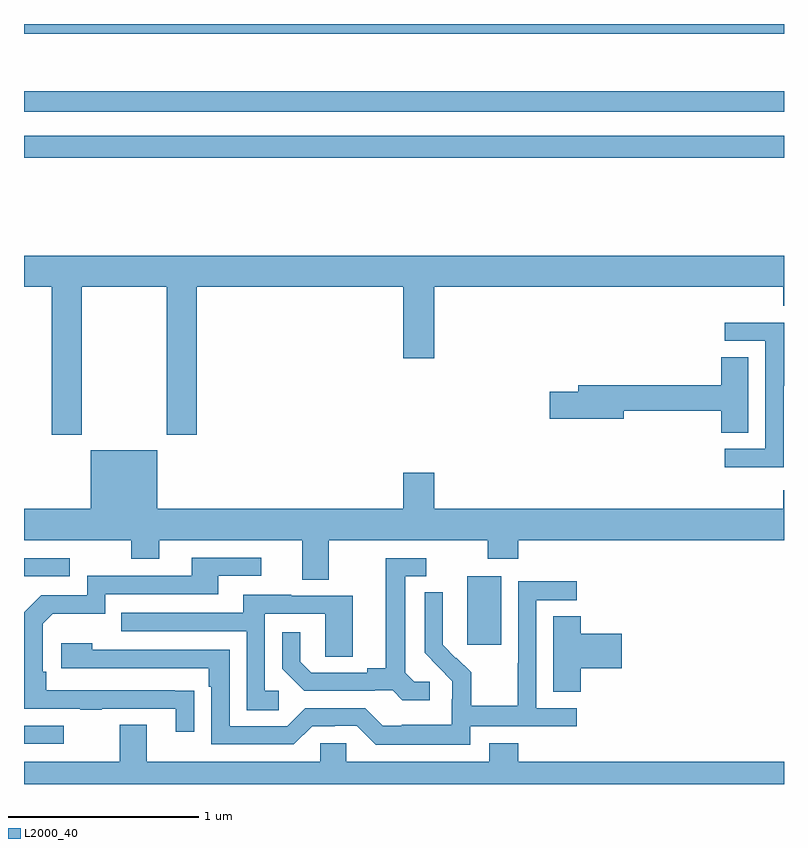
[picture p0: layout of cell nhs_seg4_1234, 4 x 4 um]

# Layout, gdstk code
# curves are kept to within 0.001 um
import gdstk
lib = gdstk.Library(unit=1e-6, precision=1e-09)
def R(c, l, rs):  # rectangles x0, y0, x1, y1
    for r in rs: c.add(gdstk.rectangle(r[:2], r[2:], *l))
def P(c, l, *ps):  # polygons
    for p in ps: c.add(gdstk.Polygon(p, *l))
L2000_40 = (2000, 40)

nhs_seg4_1234 = lib.new_cell('nhs_seg4_1234')
R(nhs_seg4_1234, L2000_40, [(175,765.111,175.21,765.207), (177.332,765.633,177.511,765.994), (175,765.993,175.24,766.089), (175,768.196,179,768.312), (175,768.438,179,768.547), (175,768.848,179,768.9)])
P(nhs_seg4_1234, L2000_40, [(175.305,767.516),(175.75,767.516),(175.75,766.737),(175.91,766.737),(175.91,767.516),(176.996,767.516),(176.996,767.142),(177.16,767.142),(177.16,767.516),(178.997,767.516),(178.997,767.417),(179,767.417),(179,767.68),(175,767.68),(175,767.516),(175.145,767.516),(175.145,766.737),(175.305,766.737)],
  [(178.998,766.996),(179,766.996),(179,767.328),(178.689,767.328),(178.689,767.232),(178.902,767.232),(178.902,766.665),(178.689,766.665),(178.689,766.567),(178.998,766.567)],
  [(178.813,767.147),(178.67,767.147),(178.67,767),(177.917,767),(177.917,766.964),(177.768,766.964),(177.768,766.822),(178.156,766.822),(178.156,766.864),(178.67,766.864),(178.67,766.75),(178.813,766.75)],
  [(175.352,766.348),(175,766.348),(175,766.184),(175.564,766.184),(175.564,766.085),(175.711,766.085),(175.711,766.184),(176.465,766.184),(176.465,765.976),(176.605,765.976),(176.605,766.184),(177.442,766.184),(177.442,766.085),(177.602,766.085),(177.602,766.184),(179,766.184),(179,766.447),(178.997,766.447),(178.997,766.348),(177.16,766.348),(177.16,766.537),(176.996,766.537),(176.996,766.348),(175.702,766.348),(175.702,766.657),(175.352,766.657)],
  [(175.895,765.392),(175.118,765.393),(175.118,765.49),(175.098,765.49),(175.098,765.744),(175.151,765.797),(175.428,765.797),(175.428,765.9),(176.023,765.9),(176.023,765.996),(176.248,765.996),(176.248,766.092),(175.883,766.092),(175.883,765.996),(175.332,765.996),(175.332,765.894),(175.092,765.894),(175.002,765.804),(175.002,765.297),(175.297,765.297),(175.297,765.292),(175.409,765.292),(175.409,765.297),(175.799,765.297),(175.799,765.174),(175.895,765.174)],
  [(177.136,765.438),(177.054,765.438),(177.007,765.485),(177.007,765.993),(177.118,765.993),(177.118,766.089),(176.903,766.089),(176.903,765.509),(176.807,765.509),(176.807,765.486),(176.512,765.486),(176.455,765.543),(176.455,765.7),(176.358,765.7),(176.358,765.506),(176.474,765.39),(176.846,765.39),(176.846,765.393),(176.94,765.393),(176.992,765.341),(177.136,765.341)],
  [(177.348,765.204),(177.91,765.204),(177.91,765.3),(177.696,765.3),(177.696,765.867),(177.91,765.867),(177.91,765.966),(177.6,765.966),(177.6,765.536),(177.598,765.536),(177.598,765.313),(177.353,765.313),(177.353,765.487),(177.276,765.564),(177.273,765.561),(177.203,765.632),(177.204,765.908),(177.108,765.908),(177.108,765.59),(177.254,765.442),(177.254,765.345),(177.252,765.345),(177.252,765.211),(176.989,765.211),(176.989,765.207),(176.889,765.207),(176.796,765.3),(176.481,765.3),(176.385,765.204),(176.082,765.204),(176.082,765.606),(175.358,765.606),(175.358,765.64),(175.197,765.64),(175.197,765.51),(175.973,765.51),(175.973,765.413),(175.986,765.413),(175.986,765.108),(176.421,765.108),(176.517,765.204),(176.636,765.204),(176.636,765.207),(176.751,765.207),(176.851,765.107),(177.348,765.107)],
  [(176.341,765.39),(176.268,765.39),(176.268,765.795),(176.586,765.795),(176.586,765.571),(176.731,765.571),(176.731,765.891),(176.407,765.891),(176.407,765.895),(176.153,765.895),(176.153,765.801),(175.513,765.801),(175.513,765.705),(176.172,765.705),(176.172,765.289),(176.341,765.289)],
  [(177.929,765.509),(178.147,765.509),(178.147,765.692),(177.929,765.692),(177.929,765.782),(177.785,765.782),(177.785,765.385),(177.929,765.385)],
  [(179,765.016),(177.602,765.016),(177.602,765.115),(177.449,765.115),(177.449,765.016),(176.697,765.016),(176.697,765.114),(176.559,765.114),(176.559,765.016),(175.645,765.016),(175.645,765.211),(175.505,765.211),(175.505,765.016),(175,765.016),(175,764.9),(179,764.9)])

lib.write_gds('nhs_seg4_1234.gds')
